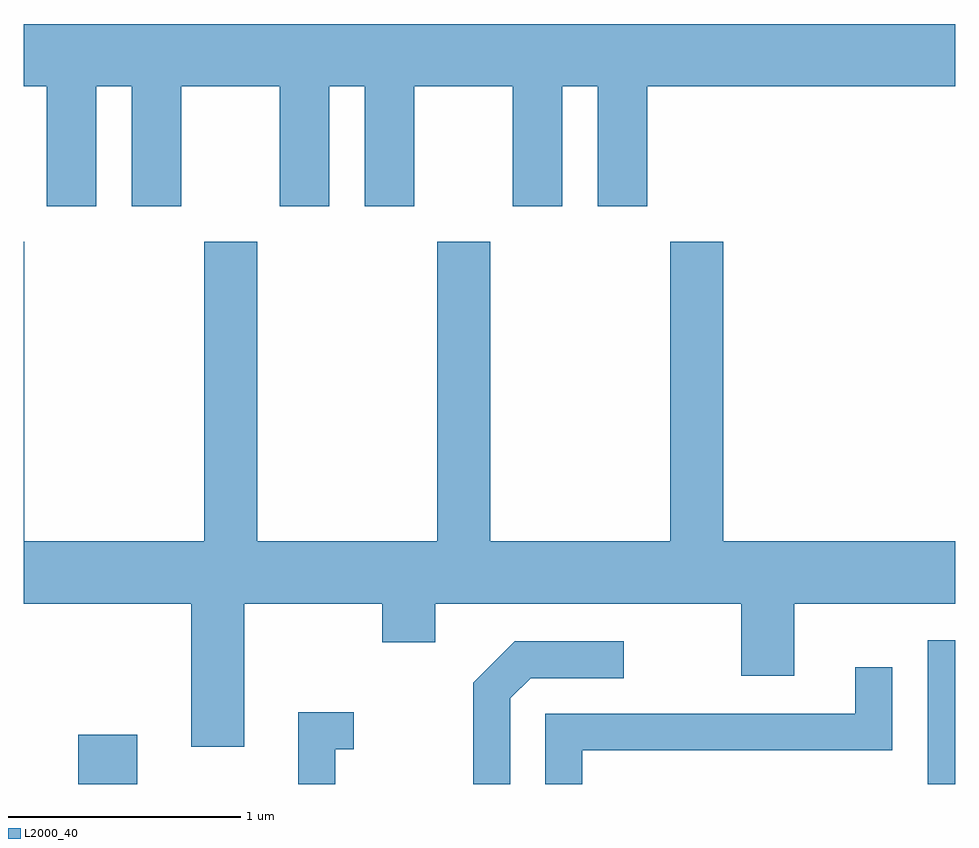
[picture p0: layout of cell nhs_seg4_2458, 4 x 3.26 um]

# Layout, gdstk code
import gdstk
lib = gdstk.Library(unit=1e-6, precision=1e-09)
def R(c, l, rs):  # rectangles x0, y0, x1, y1
    for r in rs: c.add(gdstk.rectangle(r[:2], r[2:], *l))
def P(c, l, *ps):  # polygons
    for p in ps: c.add(gdstk.Polygon(p, *l))
L2000_40 = (2000, 40)

nhs_seg4_2458 = lib.new_cell('nhs_seg4_2458')
R(nhs_seg4_2458, L2000_40, [(257.846,1273.982,258.099,1274.194), (261.491,1273.982,261.611,1274.599)])
P(nhs_seg4_2458, L2000_40, [(257.924,1276.976),(258.076,1276.976),(258.076,1276.461),(258.289,1276.461),(258.289,1276.976),(258.711,1276.976),(258.711,1276.461),(258.924,1276.461),(258.924,1276.976),(259.076,1276.976),(259.076,1276.461),(259.289,1276.461),(259.289,1276.976),(259.711,1276.976),(259.711,1276.461),(259.924,1276.461),(259.924,1276.976),(260.076,1276.976),(260.076,1276.461),(260.289,1276.461),(260.289,1276.976),(261.611,1276.976),(261.611,1277.244),(257.611,1277.244),(257.611,1276.976),(257.711,1276.976),(257.711,1276.461),(257.924,1276.461)],
  [(258.386,1275.024),(257.614,1275.024),(257.614,1276.309),(257.611,1276.309),(257.611,1274.756),(258.331,1274.756),(258.331,1274.141),(258.559,1274.141),(258.559,1274.756),(259.151,1274.756),(259.151,1274.591),(259.379,1274.591),(259.379,1274.756),(260.691,1274.756),(260.691,1274.446),(260.919,1274.446),(260.919,1274.756),(261.611,1274.756),(261.611,1275.024),(260.614,1275.024),(260.614,1276.309),(260.386,1276.309),(260.386,1275.024),(259.614,1275.024),(259.614,1276.309),(259.386,1276.309),(259.386,1275.024),(258.614,1275.024),(258.614,1276.309),(258.386,1276.309)],
  [(259.699,1274.349),(259.787,1274.436),(260.188,1274.436),(260.188,1274.594),(259.719,1274.594),(259.541,1274.417),(259.541,1273.982),(259.699,1273.982)],
  [(260.009,1274.126),(261.339,1274.126),(261.339,1274.483),(261.181,1274.483),(261.181,1274.284),(259.851,1274.284),(259.851,1273.982),(260.009,1273.982)],
  [(258.949,1274.131),(259.028,1274.131),(259.028,1274.289),(258.791,1274.289),(258.791,1273.982),(258.949,1273.982)])

lib.write_gds('nhs_seg4_2458.gds')
